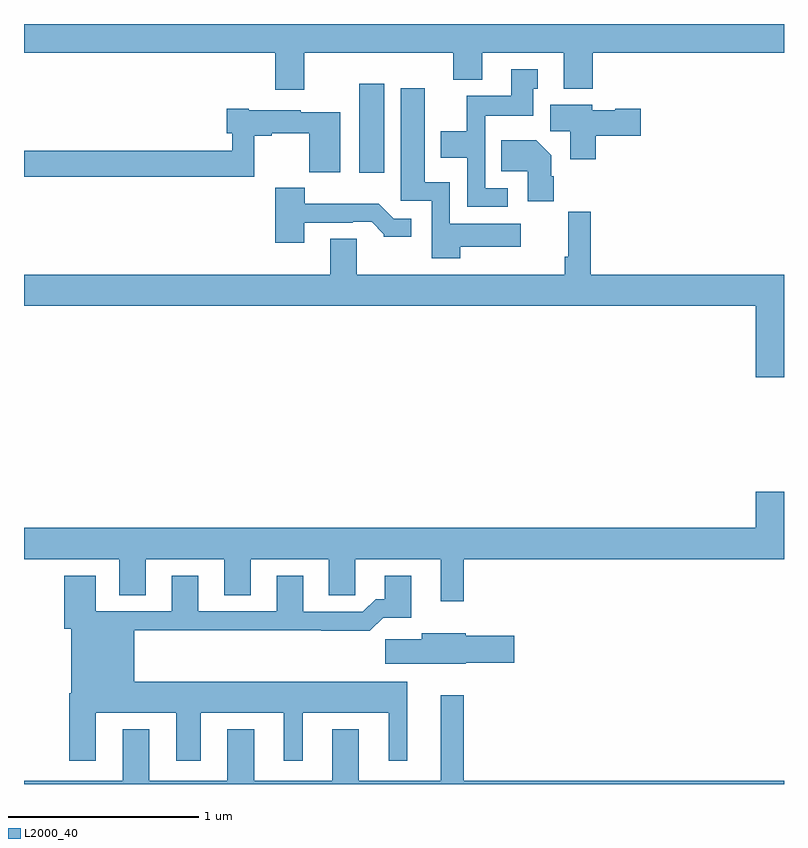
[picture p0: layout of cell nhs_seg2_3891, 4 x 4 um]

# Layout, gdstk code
import gdstk
lib = gdstk.Library(unit=1e-6, precision=1e-09)
def R(c, l, rs):  # rectangles x0, y0, x1, y1
    for r in rs: c.add(gdstk.rectangle(r[:2], r[2:], *l))
def P(c, l, *ps):  # polygons
    for p in ps: c.add(gdstk.Polygon(p, *l))
L2000_40 = (2000, 40)

nhs_seg2_3891 = lib.new_cell('nhs_seg2_3891')
R(nhs_seg2_3891, L2000_40, [(318.764,635.016,318.895,635.485)])
P(nhs_seg2_3891, L2000_40, [(318.475,635.648),(319.259,635.648),(319.259,635.507),(319.411,635.507),(319.411,635.648),(319.841,635.648),(319.841,635.459),(319.994,635.459),(319.994,635.648),(321,635.648),(321,635.8),(317,635.8),(317,635.648),(318.323,635.648),(318.323,635.454),(318.475,635.454)],
  [(319.546,634.935),(319.428,634.935),(319.428,635.318),(319.681,635.318),(319.681,635.46),(319.705,635.46),(319.705,635.563),(319.565,635.563),(319.565,635.422),(319.33,635.422),(319.33,635.236),(319.193,635.236),(319.193,635.096),(319.332,635.096),(319.332,634.839),(319.546,634.839)],
  [(319.295,634.628),(319.615,634.628),(319.615,634.75),(319.242,634.75),(319.242,634.966),(319.108,634.966),(319.108,635.461),(318.983,635.461),(318.983,634.869),(319.146,634.869),(319.146,634.566),(319.295,634.566)],
  [(320.009,635.213),(320.245,635.213),(320.245,635.355),(320.112,635.355),(320.112,635.347),(319.992,635.347),(319.992,635.374),(319.769,635.374),(319.769,635.236),(319.874,635.236),(319.874,635.088),(320.009,635.088)],
  [(318.212,635.213),(318.304,635.213),(318.304,635.225),(318.502,635.225),(318.502,635.021),(318.664,635.021),(318.664,635.335),(318.456,635.335),(318.456,635.347),(318.184,635.347),(318.184,635.355),(318.068,635.355),(318.068,635.225),(318.095,635.225),(318.095,635.132),(317,635.132),(317,634.996),(318.212,634.996)],
  [(319.787,635),(319.774,635),(319.774,635.11),(319.696,635.188),(319.513,635.188),(319.513,635.024),(319.652,635.024),(319.652,634.866),(319.787,634.866)],
  [(318.475,634.755),(318.731,634.755),(318.731,634.758),(318.83,634.758),(318.894,634.694),(318.894,634.679),(319.039,634.679),(319.039,634.776),(318.945,634.776),(318.867,634.855),(318.478,634.855),(318.478,634.939),(318.323,634.939),(318.323,634.65),(318.475,634.65)],
  [(321,634.48),(319.982,634.48),(319.982,634.813),(319.864,634.813),(319.864,634.576),(319.846,634.576),(319.846,634.48),(318.751,634.48),(318.751,634.67),(318.611,634.67),(318.611,634.48),(317,634.48),(317,634.316),(320.852,634.316),(320.852,633.942),(321,633.942)],
  [(319.315,632.984),(321,632.984),(321,633.337),(320.852,633.337),(320.852,633.148),(317,633.148),(317,632.984),(317.501,632.984),(317.501,632.794),(317.641,632.794),(317.641,632.984),(318.053,632.984),(318.053,632.794),(318.193,632.794),(318.193,632.984),(318.605,632.984),(318.605,632.794),(318.744,632.794),(318.744,632.984),(319.193,632.984),(319.193,632.763),(319.315,632.763)],
  [(317.377,632.174),(317.801,632.174),(317.801,631.923),(317.929,631.923),(317.929,632.174),(318.368,632.174),(318.368,631.923),(318.466,631.923),(318.466,632.174),(318.92,632.174),(318.92,631.923),(319.018,631.923),(319.018,632.338),(317.581,632.338),(317.581,632.608),(318.565,632.608),(318.565,632.606),(318.821,632.606),(318.89,632.675),(319.039,632.675),(319.039,632.896),(318.899,632.896),(318.899,632.773),(318.85,632.773),(318.783,632.706),(318.469,632.706),(318.469,632.896),(318.329,632.896),(318.329,632.709),(317.917,632.709),(317.917,632.896),(317.777,632.896),(317.777,632.709),(317.377,632.709),(317.377,632.896),(317.213,632.896),(317.213,632.616),(317.249,632.616),(317.249,632.278),(317.237,632.278),(317.237,631.923),(317.377,631.923)],
  [(319.326,632.438),(319.579,632.438),(319.579,632.58),(319.326,632.58),(319.326,632.593),(319.094,632.593),(319.094,632.561),(318.9,632.561),(318.9,632.432),(319.326,632.432)],
  [(321,631.816),(319.315,631.816),(319.315,632.266),(319.193,632.266),(319.193,631.816),(318.763,631.816),(318.763,632.089),(318.623,632.089),(318.623,631.816),(318.211,631.816),(318.211,632.089),(318.071,632.089),(318.071,631.816),(317.659,631.816),(317.659,632.089),(317.519,632.089),(317.519,631.816),(317,631.816),(317,631.8),(321,631.8)])

lib.write_gds('nhs_seg2_3891.gds')
